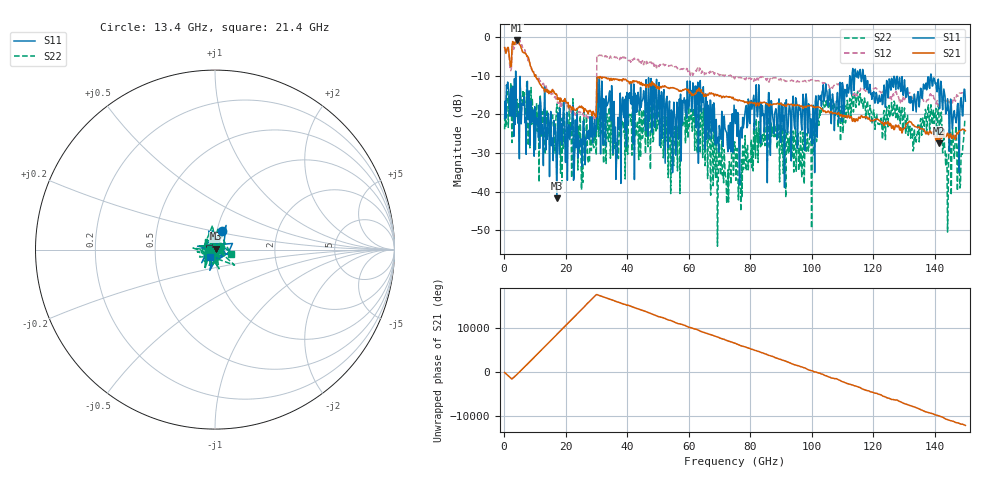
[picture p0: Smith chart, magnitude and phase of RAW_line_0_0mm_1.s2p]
!  2-Port S-parameters saved by WinCal
! VAR NAME=RAW_LRRM_line_0mm_1
! VAR DATE=08/08/2022 22:09:10
! VAR FILENAME=RAW_LRRM_line_0mm_1.S2P
! VAR PHYS_PORTS=1,2
! VAR ObjTypeName=DATASET
! VAR IndexType=Frequency
! VAR ChuckHeaterState=Unknown
! VAR ChuckTemp=NaN
! VAR ChuckTempUnits=Unknown
# Hz S RI R 50
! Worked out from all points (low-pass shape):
!   750 points, 200 MHz to 150 GHz, reference 50 ohm
!   highest |S21| = -0.91 dB at 4.2 GHz (marker M1); lowest = -27.5 dB at 141.4 GHz (marker M2)
!   |S21| within 3 dB of the highest: 701.3 MHz to 1.58 GHz (879.1 MHz wide, 77.1 % of centre); 2.539 GHz to 6.038 GHz (3.499 GHz wide, 81.6 % of centre)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
!   lowest |S11| = -41.8 dB at 17.2 GHz (marker M3), VSWR 1.02, Z = 50.6 + j0.548 ohm
!   |S11| at or under -10 dB: 3.829 GHz to 113.2 GHz (109.4 GHz wide, 187 % of centre); 117.4 GHz to 138.7 GHz (21.28 GHz wide, 16.6 % of centre); 138.9 GHz to end of sweep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
!   |S22| runs from -54.1 to -11.3 dB; largest |S21 - S12| = 1.7
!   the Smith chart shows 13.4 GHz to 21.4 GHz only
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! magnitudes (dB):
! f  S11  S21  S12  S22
! 200 MHz  -21.1  -2.7  -2.6  -23.9
! 4.2 GHz  -17.4  -0.9  -1.5  -16.1
! 17.2 GHz  -41.8  -15.0  -16.1  -17.3
! 25.2 GHz  -27.6  -17.9  -19.6  -39.6
! 29.4 GHz  -21.4  -20.2  -21.8  -22.3
! 30.8 GHz  -16.4  -10.5  -4.8  -25.8
! 34.6 GHz  -19.2  -10.8  -4.9  -31.4
! 36.6 GHz  -31.5  -11.0  -5.2  -30.0
! 41 GHz  -15.4  -11.7  -6.1  -20.7
! 50.2 GHz  -17.1  -12.9  -7.5  -22.2
! 54.6 GHz  -19.3  -13.2  -7.4  -22.7
! 63.8 GHz  -11.3  -14.1  -8.4  -30.1
! 72.4 GHz  -24.8  -15.4  -9.9  -43.1
! 75.2 GHz  -22.4  -16.1  -10.4  -28.8
! 76.8 GHz  -24.4  -16.5  -10.4  -35.7
! 81.8 GHz  -15.9  -17.2  -11.3  -31.4
! 100.2 GHz  -27.7  -17.8  -11.1  -30.5
! 104.4 GHz  -15.1  -19.2  -11.9  -18.0
! 125.2 GHz  -10.9  -22.9  -16.3  -17.7
! 141.4 GHz  -13.5  -27.5  -18.0  -19.7
! 143.8 GHz  -19.0  -25.7  -16.4  -30.3
! 150 GHz  -16.6  -24.3  -15.1  -21.9
